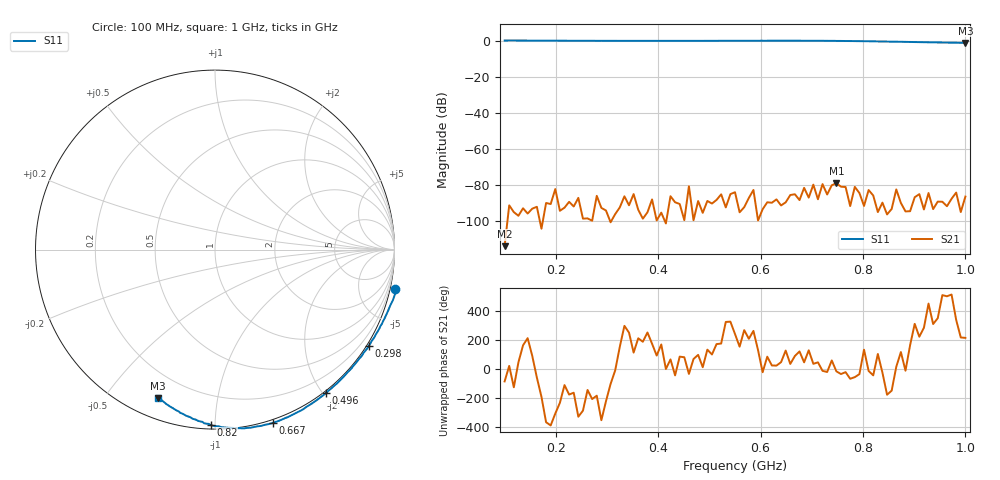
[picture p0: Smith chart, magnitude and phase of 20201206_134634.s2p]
# HZ S RI R 50
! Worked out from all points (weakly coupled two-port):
!   101 points, 100 MHz to 1 GHz, reference 50 ohm
!   highest |S21| = -79.14 dB at 748 MHz (marker M1); lowest = -114.1 dB at 100 MHz (marker M2)
!   lowest |S11| = -1.0 dB at 1 GHz (marker M3), VSWR 16.64, Z = 4.42 - j34.2 ohm
!   |S11| at or under -10 dB: nowhere
!   S12 and S22 are empty: the file has one direction only
!   S11 on the Smith chart (normalised r, x): 100 MHz: -1.20, -9.17; 298 MHz: -0.07, -3.47; 496 MHz: -0.03, -2.04; 667 MHz: -0.03, -1.39; 820 MHz: 0.02, -0.98; 1 GHz: 0.09, -0.68
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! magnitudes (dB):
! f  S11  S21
! 100 MHz  0.2  -114.1
! 109 MHz  0.3  -91.4
! 163 MHz  0.2  -92.2
! 253 MHz  0.1  -98.8
! 298 MHz  0.1  -94.3
! 406 MHz  0.1  -95.5
! 496 MHz  0.1  -89.0
! 550 MHz  0.1  -84.1
! 667 MHz  0.2  -85.3
! 694 MHz  0.1  -87.1
! 703 MHz  0.1  -79.9
! 712 MHz  0.1  -88.0
! 721 MHz  0.1  -79.6
! 730 MHz  0.1  -85.4
! 739 MHz  0.1  -80.3
! 748 MHz  0.0  -79.1
! 757 MHz  0.0  -81.1
! 820 MHz  -0.2  -86.0
! 856 MHz  -0.4  -93.5
! 973 MHz  -0.9  -87.8
! 991 MHz  -1.0  -95.2
! 1 GHz  -1.0  -86.6
